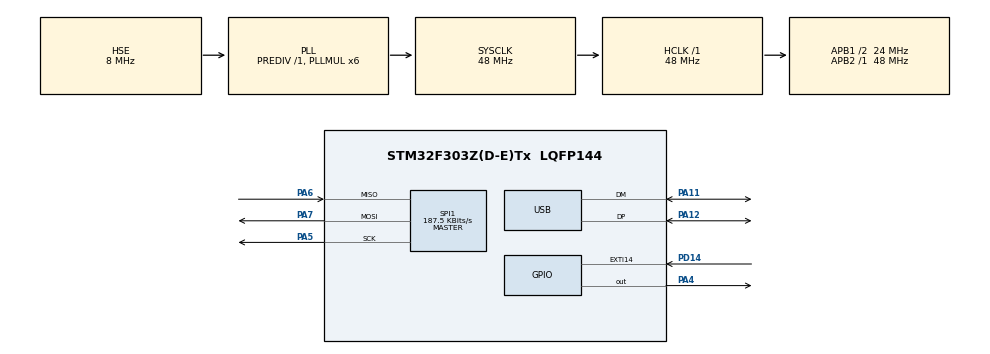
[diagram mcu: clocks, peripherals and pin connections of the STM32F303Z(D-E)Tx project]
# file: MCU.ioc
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Mcu.Family=STM32F3
Mcu.Name=STM32F303Z(D-E)Tx
Mcu.Package=LQFP144
NVIC.EXTI15_10_IRQn=true\:0\:0\:false\:false\:true\:true\:true
NVIC.PriorityGroup=NVIC_PRIORITYGROUP_4
NVIC.USB_LP_CAN_RX0_IRQn=true\:0\:0\:false\:false\:true\:false\:true
PA11.Mode=Device
PA11.Signal=USB_DM
PA12.Mode=Device
PA12.Signal=USB_DP
PA4.PinState=GPIO_PIN_SET
PA4.Signal=GPIO_Output
PA5.Mode=Full_Duplex_Master
PA5.Signal=SPI1_SCK
PA6.Mode=Full_Duplex_Master
PA6.Signal=SPI1_MISO
PA7.Mode=Full_Duplex_Master
PA7.Signal=SPI1_MOSI
PD14.GPIO_ModeDefaultEXTI=GPIO_MODE_IT_FALLING
PD14.Signal=GPXTI14
PF0-OSC_IN.Mode=HSE-External-Clock-Source
PF0-OSC_IN.Signal=RCC_OSC_IN
ProjectManager.HeapSize=0x200
ProjectManager.StackSize=0x400
ProjectManager.TargetToolchain=STM32CubeIDE
RCC.AHBFreq_Value=48000000
RCC.APB1CLKDivider=RCC_HCLK_DIV2
RCC.APB1Freq_Value=24000000
RCC.APB1TimFreq_Value=48000000
RCC.APB2Freq_Value=48000000
RCC.APB2TimFreq_Value=48000000
RCC.CortexFreq_Value=48000000
RCC.HCLKFreq_Value=48000000
RCC.HSE_VALUE=8000000
RCC.HSI_VALUE=8000000
RCC.LSE_VALUE=32768
RCC.PLLMUL=RCC_PLL_MUL6
RCC.SYSCLKFreq_VALUE=48000000
RCC.SYSCLKSourceVirtual=RCC_SYSCLKSOURCE_PLLCLK
RCC.USBFreq_Value=48000000
SPI1.BaudRatePrescaler=SPI_BAUDRATEPRESCALER_256
SPI1.CLKPhase=SPI_PHASE_2EDGE
SPI1.CalculateBaudRate=187.5 KBits/s
SPI1.DataSize=SPI_DATASIZE_8BIT
SPI1.Direction=SPI_DIRECTION_2LINES
SPI1.Mode=SPI_MODE_MASTER
SPI1.VirtualType=VM_MASTER
USB_DEVICE.CLASS_NAME_FS=CDC
USB_DEVICE.VirtualMode=Cdc
USB_DEVICE.VirtualModeFS=Cdc_FS
VP_USB_DEVICE_VS_USB_DEVICE_CDC_FS.Mode=CDC_FS
board=custom

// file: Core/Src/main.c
/* USER CODE BEGIN Header */
/**
  ******************************************************************************
  * @file           : main.c
  * @brief          : Main program body
  ******************************************************************************
  * @attention
  *
  * <h2><center>&copy; Copyright (c) 2021 STMicroelectronics.
  * All rights reserved.</center></h2>
  *
  * This software component is licensed by ST under BSD 3-Clause license,
  * the "License"; You may not use this file except in compliance with the
  * License. You may obtain a copy of the License at:
  *                        opensource.org/licenses/BSD-3-Clause
  *
  ******************************************************************************
  */
/* USER CODE END Header */
#include "main.h"
#include "usb_device.h"

/* USER CODE BEGIN Includes */

#include "usbd_cdc_if.h"
#include "string.h"
#include "pcstm32.h"
#include "MCU_FPGA_com.h"
/* USER CODE END Includes */

void SystemClock_Config(void);
static void MX_GPIO_Init(void);
static void MX_SPI1_Init(void);

/* USER CODE BEGIN 0 */
uint8_t buffer_verif[64]={'\0'};

s_gen_flux s_gen_flux_init()
{
    s_gen_flux s = {1920, 1080};
    return s;
}

s_gen_bus s_gen_bus_init()
{
    s_gen_bus s = {2,0,10, 10101010, 3, 2, 1, 4, 5,0,1};
    return s;
}

s_rec_bus s_rec_bus_init()
{
    s_rec_bus s = {25, 1, 11000101};
    return s;
}

s_rec_flux s_rec_flux_init()
{
    s_rec_flux s = {1920, 1080, 30, 30, 60};
    return s;
}
/* USER CODE END 0 */

int main(void)
{

  /* MCU Configuration--------------------------------------------------------*/

  /* Reset of all peripherals, Initializes the Flash interface and the Systick. */
  HAL_Init();

  /* Configure the system clock */
  SystemClock_Config();

  /* Initialize all configured peripherals */
  MX_GPIO_Init();
  MX_USB_DEVICE_Init();
  MX_SPI1_Init();

  /* Infinite loop */
  /* USER CODE BEGIN WHILE */
  while (1)
    {
	  if(buffer_verif[0]!='\0')
	  	  {

	  		    s_gen_flux gf = s_gen_flux_init();
	  		    s_gen_flux_config( &gf);
	  		    s_gen_bus gb = s_gen_bus_init();
	  		    s_gen_bus_config( &gb);
	  		    s_rec_bus rb = s_rec_bus_init();
	  		    s_rec_bus_config( &rb);
	  		    s_rec_flux rf = s_rec_flux_init();
	  		    s_rec_flux_config( &rf);
	  		    clear_buffer(buffer_verif);

	  		    Envoie_Bus_com(&gb);
	  		 	Envoie_DVI(&gf);
	  		 	get_struct(&rf,&rb);
	  	  }

    /* USER CODE END WHILE */

    }
}

void SystemClock_Config(void)
{
  RCC_OscInitTypeDef RCC_OscInitStruct = {0};
  RCC_ClkInitTypeDef RCC_ClkInitStruct = {0};
  RCC_PeriphCLKInitTypeDef PeriphClkInit = {0};

  /** Initializes the RCC Oscillators according to the specified parameters
  * in the RCC_OscInitTypeDef structure.
  */
  RCC_OscInitStruct.OscillatorType = RCC_OSCILLATORTYPE_HSE;
  RCC_OscInitStruct.HSEState = RCC_HSE_BYPASS;
  RCC_OscInitStruct.HSIState = RCC_HSI_ON;
  RCC_OscInitStruct.PLL.PLLState = RCC_PLL_ON;
  RCC_OscInitStruct.PLL.PLLSource = RCC_PLLSOURCE_HSE;
  RCC_OscInitStruct.PLL.PLLMUL = RCC_PLL_MUL6;
  RCC_OscInitStruct.PLL.PREDIV = RCC_PREDIV_DIV1;
  if (HAL_RCC_OscConfig(&RCC_OscInitStruct) != HAL_OK)
  {
    Error_Handler();
  }
  /** Initializes the CPU, AHB and APB buses clocks
  */
  RCC_ClkInitStruct.ClockType = RCC_CLOCKTYPE_HCLK|RCC_CLOCKTYPE_SYSCLK
                              |RCC_CLOCKTYPE_PCLK1|RCC_CLOCKTYPE_PCLK2;
  RCC_ClkInitStruct.SYSCLKSource = RCC_SYSCLKSOURCE_PLLCLK;
  RCC_ClkInitStruct.AHBCLKDivider = RCC_SYSCLK_DIV1;
  RCC_ClkInitStruct.APB1CLKDivider = RCC_HCLK_DIV2;
  RCC_ClkInitStruct.APB2CLKDivider = RCC_HCLK_DIV1;

  if (HAL_RCC_ClockConfig(&RCC_ClkInitStruct, FLASH_LATENCY_1) != HAL_OK)
  {
    Error_Handler();
  }
  PeriphClkInit.PeriphClockSelection = RCC_PERIPHCLK_USB;
  PeriphClkInit.USBClockSelection = RCC_USBCLKSOURCE_PLL;
  if (HAL_RCCEx_PeriphCLKConfig(&PeriphClkInit) != HAL_OK)
  {
    Error_Handler();
  }
}

static void MX_SPI1_Init(void)
{

  /* SPI1 parameter configuration*/
  hspi1.Instance = SPI1;
  hspi1.Init.Mode = SPI_MODE_MASTER;
  hspi1.Init.Direction = SPI_DIRECTION_2LINES;
  hspi1.Init.DataSize = SPI_DATASIZE_8BIT;
  hspi1.Init.CLKPolarity = SPI_POLARITY_LOW;
  hspi1.Init.CLKPhase = SPI_PHASE_2EDGE;
  hspi1.Init.NSS = SPI_NSS_SOFT;
  hspi1.Init.BaudRatePrescaler = SPI_BAUDRATEPRESCALER_256;
  hspi1.Init.FirstBit = SPI_FIRSTBIT_MSB;
  hspi1.Init.TIMode = SPI_TIMODE_DISABLE;
  hspi1.Init.CRCCalculation = SPI_CRCCALCULATION_DISABLE;
  hspi1.Init.CRCPolynomial = 7;
  hspi1.Init.CRCLength = SPI_CRC_LENGTH_DATASIZE;
  hspi1.Init.NSSPMode = SPI_NSS_PULSE_DISABLE;
  if (HAL_SPI_Init(&hspi1) != HAL_OK)
  {
    Error_Handler();
  }

}

static void MX_GPIO_Init(void)
{
  GPIO_InitTypeDef GPIO_InitStruct = {0};

  /* GPIO Ports Clock Enable */
  __HAL_RCC_GPIOF_CLK_ENABLE();
  __HAL_RCC_GPIOA_CLK_ENABLE();
  __HAL_RCC_GPIOD_CLK_ENABLE();

  /*Configure GPIO pin Output Level */
  HAL_GPIO_WritePin(GPIOA, GPIO_PIN_4, GPIO_PIN_SET);

  /*Configure GPIO pin : PA4 */
  GPIO_InitStruct.Pin = GPIO_PIN_4;
  GPIO_InitStruct.Mode = GPIO_MODE_OUTPUT_PP;
  GPIO_InitStruct.Pull = GPIO_NOPULL;
  GPIO_InitStruct.Speed = GPIO_SPEED_FREQ_LOW;
  HAL_GPIO_Init(GPIOA, &GPIO_InitStruct);

  /*Configure GPIO pin : PD14 */
  GPIO_InitStruct.Pin = GPIO_PIN_14;
  GPIO_InitStruct.Mode = GPIO_MODE_IT_FALLING;
  GPIO_InitStruct.Pull = GPIO_NOPULL;
  HAL_GPIO_Init(GPIOD, &GPIO_InitStruct);

  /* EXTI interrupt init*/
  HAL_NVIC_SetPriority(EXTI15_10_IRQn, 0, 0);
  HAL_NVIC_EnableIRQ(EXTI15_10_IRQn);

}

void Error_Handler(void)
{
  __disable_irq();
  while (1)
  {
  }
}

/************************ (C) COPYRIGHT STMicroelectronics *****END OF FILE****/
